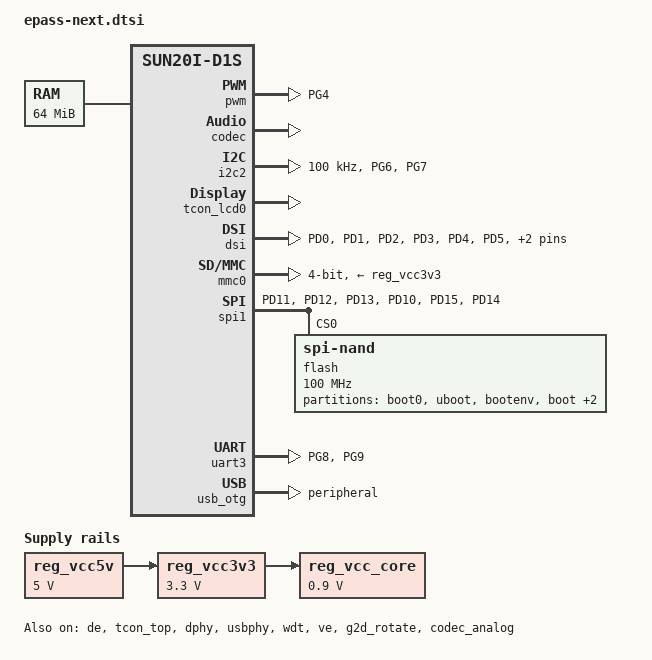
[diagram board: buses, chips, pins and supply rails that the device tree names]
// SPDX-License-Identifier: (GPL-2.0+ OR MIT)
/*
 * Copyright (C) 2025 Lukas Schmid <lukas.schmid@netcube.li>
 *
 * Common layer for every ePass Next revision. What varies between boards --
 * key GPIOs, the backlight PWM channel, the panel reset line -- lives in
 * base/devicetree-<rev>.dts instead, and the panel itself in screen/.
 *
 * The mainboard uses EA3036 fixed rails, including 1.8V DDR2 supply.
 */

#include "sun20i-d1s.dtsi"

#include <dt-bindings/gpio/gpio.h>
#include <dt-bindings/interrupt-controller/irq.h>
#include <dt-bindings/input/input.h>
#include <dt-bindings/clock/sun20i-d1-ccu.h>
#include <dt-bindings/reset/sun20i-d1-ccu.h>

/ {
	compatible = "rhodesisland,epass-next", "allwinner,sun20i-d1s";

	aliases {
		serial3 = &uart3;
	};

	chosen {
		stdout-path = "serial3:115200n8";
		/*
		 * this bootargs will not work. change bootargs in uboot env!
		 */
		bootargs = "i luv mostima, and paparus maybe?";
	};

	memory@40000000 {
		device_type = "memory";
		reg = <0x40000000 0x4000000>;	/* 64M in-package DDR2 */
	};

	reg_vcc5v: regulator-5v {
		compatible = "regulator-fixed";
		regulator-name = "vcc-5v";
		regulator-min-microvolt = <5000000>;
		regulator-max-microvolt = <5000000>;
		regulator-always-on;
	};

	reg_vcc3v3: regulator-3v3 {
		compatible = "regulator-fixed";
		regulator-name = "vcc-3v3";
		regulator-min-microvolt = <3300000>;
		regulator-max-microvolt = <3300000>;
		regulator-always-on;
		vin-supply = <&reg_vcc5v>;
	};

	reg_vcc_core: regulator-core {
		compatible = "regulator-fixed";
		regulator-name = "vcc-core";
		regulator-min-microvolt = <900000>;
		regulator-max-microvolt = <900000>;
		vin-supply = <&reg_vcc3v3>;
	};
};

/*
 * Nodes the upstream D1/D1s dtsi does not carry yet. Addresses and interrupt
 * numbers are from the D1-H user manual (sec. 3.1 memory map and the interrupt
 * source table): VE 0x01c0e000/8K irq 81, IOMMU 0x02010000/64K irq 80,
 * PWM 0x02000c00/1K irq 34.
 */
&{/soc} {
	pwm: pwm@2000c00 {
		compatible = "allwinner,sun20i-d1-pwm";
		reg = <0x2000c00 0x400>;
		interrupts = <SOC_PERIPHERAL_IRQ(34) IRQ_TYPE_LEVEL_HIGH>;
		clocks = <&ccu CLK_BUS_PWM>, <&dcxo>, <&ccu CLK_APB0>;
		clock-names = "bus", "hosc", "apb";
		resets = <&ccu RST_BUS_PWM>;
		#pwm-cells = <3>;
		status = "disabled";
	};

	/*
	 * The C906 CLINT lives in M-mode, so Linux never touches it and the
	 * mainline SoC dtsi does not describe it. OpenSBI does need it: without
	 * a node it finds no timer device ("Platform Timer Device: --- @ 0Hz"),
	 * SBI_SET_TIMER silently does nothing, and the kernel loses its tick a
	 * second into boot -- jiffies freeze and every msleep() never returns.
	 */
	clint: timer@14000000 {
		compatible = "thead,c900-clint";
		reg = <0x14000000 0x04000000>;
		interrupts-extended = <&cpu0_intc 3>, <&cpu0_intc 7>;
	};

	/*
	 * No iommu node. The D1 has one, but with DE translated the picture
	 * collapses into full-screen vertical stripes as soon as a second
	 * mixer channel starts fetching -- no fault ever raised, and no
	 * prefetch/OOO/wbuf/auto-gating knob changes it. The vendor kernels
	 * for both D1 and T113 pin DE to bypass (iommus flag 0), so DE behind
	 * the IOMMU is a configuration nobody has ever validated on this
	 * silicon. With DE stuck on physical addresses the VE must stay on
	 * them too (its frames are scanned out directly), which makes the
	 * IOMMU useless here; scanout memory comes from CMA instead.
	 */

	ve: video-codec@1c0e000 {
		compatible = "allwinner,sun20i-d1-video-engine";
		reg = <0x1c0e000 0x2000>;
		/*
		 * PLIC 82 (D1-H manual 中断源表: 80=IOMMU, 81=保留, 82=VE;
		 * BSP 的 sun20iw1p1.dtsi 同样是 <&plic0 82>)。
		 * SOC_PERIPHERAL_IRQ(nr) = nr + 16, 所以这里要写 66 而不是 82 ——
		 * 填 81 会注册到 PLIC 97 那个空号上, 中断永远不来: VE 每帧都解完
		 * 但驱动收不到完成通知, 全靠 cedrus watchdog 2s 后 reset, 表现为
		 * "frame processing timed out!" + 每帧 src/dst 双 ERROR。
		 */
		interrupts = <SOC_PERIPHERAL_IRQ(66) IRQ_TYPE_LEVEL_HIGH>;
		clocks = <&ccu CLK_BUS_VE>, <&ccu CLK_VE>, <&ccu CLK_MBUS_VE>;
		clock-names = "ahb", "mod", "ram";
		resets = <&ccu RST_BUS_VE>;
		status = "disabled";
	};

	/*
	 * The rotate engine sitting inside G2D at +0x28000. This is the very
	 * same IP the mainline sun8i-rotate driver already handles on A83T and
	 * A64, where it lives in the DE instead; the register map is identical
	 * field for field and is documented in the DE2.0 spec section 5.13.
	 * The D1 DE does not have it -- its DE2 clock controller exposes no
	 * CLK_ROT/RST_ROT, and the vendor DE driver rotates framebuffers by
	 * calling into G2D (disp2/disp/fb_g2d_rot.c).
	 *
	 * The second reg range is the G2D TOP block. Only bit 1 there is ours
	 * (rotate gating and soft reset); bit 0 is the G2D mixer, which has no
	 * driver and is deliberately left in reset.
	 *
	 * PLIC 105 = G2D (D1-H manual interrupt vector table; BSP
	 * sun20iw1p1.dtsi agrees). SOC_PERIPHERAL_IRQ(nr) = nr + 16, hence 89 --
	 * same trap as the ve node above.
	 *
	 * No iommus: G2D has no scatter-gather, buffers must be physically
	 * contiguous, which is what CMA gives us.
	 */
	g2d_rotate: rotate@5438000 {
		compatible = "allwinner,sun20i-d1-g2d-rotate";
		reg = <0x5438000 0x1000>,	/* rotate engine */
		      <0x5410000 0x10>;		/* G2D TOP */
		interrupts = <SOC_PERIPHERAL_IRQ(89) IRQ_TYPE_LEVEL_HIGH>;
		clocks = <&ccu CLK_BUS_G2D>, <&ccu CLK_G2D>, <&ccu CLK_MBUS_G2D>;
		clock-names = "bus", "mod", "mbus";
		resets = <&ccu RST_BUS_G2D>;
		/*
		 * 300 MHz is what the vendor driver picks. g2d_clk has no
		 * CLK_SET_RATE_PARENT (ccu-sun20i-d1.c), so this only selects a
		 * divider and will not disturb the video PLL driving the panel:
		 * pll-periph0-2x is 1200 MHz, M=4 lands exactly on 300 MHz.
		 */
		assigned-clocks = <&ccu CLK_G2D>;
		assigned-clock-rates = <300000000>;
		status = "disabled";
	};

	/*
	 * The audio codec is one IP with two halves at adjacent addresses:
	 * the digital DAC/ADC and FIFOs at 0x2030000, and the analog side
	 * -- PGA, headphone amp, mic bias -- at 0x2030300. They are two
	 * nodes because they are two drivers, sun4i-codec and
	 * sun20i-d1-codec-analog, tied together by the phandle below.
	 *
	 * Unlike the older SoCs the analog half is plain MMIO here, not the
	 * ADDA-PR indirect register bus, which is why sun8i-codec-analog
	 * does not drive it.
	 *
	 * Both DMA names point at DRQ 7: the codec has one request line and
	 * the direction is chosen by which FIFO the channel is pointed at.
	 */
	codec: codec@2030000 {
		#sound-dai-cells = <0>;
		compatible = "allwinner,sun20i-d1-codec";
		reg = <0x2030000 0x300>;
		interrupts = <SOC_PERIPHERAL_IRQ(25) IRQ_TYPE_LEVEL_HIGH>;
		clocks = <&ccu CLK_BUS_AUDIO>, <&ccu CLK_AUDIO_ADC>,
			 <&ccu CLK_AUDIO_DAC>;
		clock-names = "apb", "adc", "dac";
		resets = <&ccu RST_BUS_AUDIO>;
		dmas = <&dma 7>, <&dma 7>;
		dma-names = "rx", "tx";
		allwinner,codec-analog-controls = <&codec_analog>;
		status = "disabled";
	};

	codec_analog: codec-analog@2030300 {
		compatible = "allwinner,sun20i-d1-codec-analog";
		reg = <0x2030300 0xd00>;
		status = "disabled";
	};
};

&cpu0 {
	cpu-supply = <&reg_vcc_core>;
};

&dcxo {
	clock-frequency = <24000000>;
};

&pio {
	vcc-pb-supply = <&reg_vcc3v3>;
	vcc-pc-supply = <&reg_vcc3v3>;
	vcc-pd-supply = <&reg_vcc3v3>;
	vcc-pe-supply = <&reg_vcc3v3>;
	vcc-pf-supply = <&reg_vcc3v3>;
	vcc-pg-supply = <&reg_vcc3v3>;

	dsi_3lane_pins: dsi-3lane-pins {
		pins = "PD0", "PD1", "PD2", "PD3", "PD4", "PD5", "PD6", "PD7";
		function = "dsi";
		drive-strength = <30>;
	};
	uart3_pg_pins: uart3-pg-pins {
		pins = "PG8", "PG9";
		function = "uart3";
	};
	/omit-if-no-ref/
	i2c2_pg_pins: i2c2-pg-pins {
		pins = "PG6", "PG7";
		function = "i2c2";
	};

	/omit-if-no-ref/
	pwm5_pg_pin: pwm5-pg-pin {
		pins = "PG4";
		function = "pwm5";
	};

	/* CS, WP and HOLD need pull-ups while the bus is idle. */
	spi1_quad_pins: spi1-quad-pins {
		pins = "PD11", "PD12", "PD13";
		function = "spi1";
		drive-strength = <20>;
	};

	spi1_quad_pu_pins: spi1-quad-pu-pins {
		pins = "PD10", "PD15", "PD14";
		function = "spi1";
		drive-strength = <20>;
		bias-pull-up;
	};
};

/* n0.2 selects GPIO I2C to match the FPC SCL/SDA pin order. */
&i2c2 {
	pinctrl-0 = <&i2c2_pg_pins>;
	pinctrl-names = "default";
	clock-frequency = <100000>;
	status = "okay";
};

&pwm {
	pinctrl-0 = <&pwm5_pg_pin>;
	pinctrl-names = "default";
	status = "okay";
};

/* --- display: DE2.0 -> mixer0 -> tcon_top -> tcon_lcd0 -> dsi --- */
&de {
	status = "okay";
};

&tcon_top {
	status = "okay";
};

&tcon_lcd0 {
	status = "okay";
};

&dphy {
	status = "okay";
};

&dsi {
	/* DSI is a bus: the panel's reg is a virtual channel, not an address */
	#address-cells = <1>;
	#size-cells = <0>;

	pinctrl-0 = <&dsi_3lane_pins>;
	pinctrl-names = "default";
	status = "okay";

};

/* --- video decode --- */
&ve {
	status = "okay";
};

&g2d_rotate {
	status = "okay";
};

/* --- audio --- */
&codec {
	/*
	 * "Headphone" is the card-level jack widget, "HP" the analog half's
	 * output. Everything else on the codec -- line in, mic2, the DMICs --
	 * is not wired on this board, and fully_routed keeps those paths
	 * powered down.
	 */
	allwinner,audio-routing = "Headphone", "HP";
	status = "okay";
};

&codec_analog {
	status = "okay";
};

&mmc0 {
	pinctrl-0 = <&mmc0_pins>;
	pinctrl-names = "default";
	vmmc-supply = <&reg_vcc3v3>;
	/*
	 * broken-cd rather than cd-gpios: the slot's detect pin is not wired
	 * to the SoC, so the core has to poll for a card instead.
	 */
	broken-cd;
	disable-wp;
	bus-width = <4>;
	status = "okay";
};

&spi1 {
	pinctrl-0 = <&spi1_quad_pins>, <&spi1_quad_pu_pins>;
	pinctrl-names = "default";
	status = "okay";

	flash@0 {
		compatible = "spi-nand";
		reg = <0>;
		/*
		 * The board is intentionally back on its 100MHz QIO baseline.
		 * Intermittent UBIFS read corruption and the follow-up tests are
		 * recorded in docs/ubifs-transient-read-followup.md.
		 * Keep this file in sync with the kernel tree board dts -- THIS
		 * copy is what mkdt.sh builds into the flashed dtbs.itb.
		 */
		spi-max-frequency = <100000000>;

		/*
		 * Without these the bus width never leaves 1: spi->mode gets
		 * SPI_RX_QUAD/SPI_TX_QUAD from nowhere else, spi_mem_supports_op
		 * then rejects every x2/x4 entry in the chip's variant table,
		 * and spinand silently settles on the 1S-1S-1S read. The
		 * controller has had the QUAD_EN bit wired up all along.
		 */
		spi-rx-bus-width = <4>;
		spi-tx-bus-width = <4>;

		/*
		 * 128MB, 2K page, 128K erase block; every boundary below is a
		 * whole number of erase blocks.
		 *
		 * rootfs and data are deliberately separate MTD partitions
		 * rather than two volumes of one UBI device: reflashing writes
		 * rootfs and never touches data, which is what makes an upgrade
		 * keep the user's data. rootfs carries a read-only UBIFS that
		 * is the overlay lower; data carries the writable upper and
		 * work directories. See preinit.
		 *
		 * Keep this table identical to the one in the U-Boot board dts
		 * -- nothing checks that they agree.
		 */
		partitions {
			compatible = "fixed-partitions";
			#address-cells = <1>;
			#size-cells = <1>;

			partition@0 {
				label = "boot0";
				reg = <0x0 0x40000>;	/* 256K */
				read-only;
			};

			partition@40000 {
				label = "uboot";
				/* u-boot.itb: OpenSBI fw_dynamic + U-Boot */
				reg = <0x40000 0x100000>;	/* 1M */
				read-only;
			};

			partition@140000 {
				/* one erase block, holding env.txt */
				label = "bootenv";
				reg = <0x140000 0x20000>;	/* 128K */
			};

			partition@160000 {
				/*
				 * One partition holding two FITs, the way the
				 * F1C boards do it and the way the flasher
				 * expects: dtbs.itb in a 1M slot at the start,
				 * kernel.itb right after it. Keeping them in
				 * one partition means one DFU alt setting and
				 * one image to hand the flasher.
				 */
				label = "boot";
				reg = <0x160000 0xa00000>;	/* 10M */
			};

			partition@b60000 {
				/* ubi0, one 24M volume: the read-only system */
				label = "rootfs";
				reg = <0xb60000 0x1c00000>;	/* 28M */
			};

			partition@2760000 {
				/* ubi1, rootfs_data: overlay upper + work */
				label = "data";
				reg = <0x2760000 0x58a0000>;	/* 88.6M */
			};
		};
	};
};

&uart3 {
	pinctrl-0 = <&uart3_pg_pins>;
	pinctrl-names = "default";
	status = "okay";
};

&usb_otg {
	dr_mode = "peripheral";
	status = "okay";
};

&usbphy {
	usb0_vbus-supply = <&reg_vcc5v>;
	status = "okay";
};

&ehci1 {
	status = "disabled";
};

&ohci1 {
	status = "disabled";
};

&wdt {
	status = "okay";
};

/*
 * The sunxi timer's clockevent outranks the riscv/SBI one (350 vs 100), so it
 * wins the tick device -- but it sits on PLIC irq 59, which never fires on this
 * board. jiffies then freeze a second into boot and every msleep() hangs, with
 * no oops and no hung-task report to show for it. Use SBI_SET_TIMER instead.
 */
&timer {
	status = "disabled";
};
